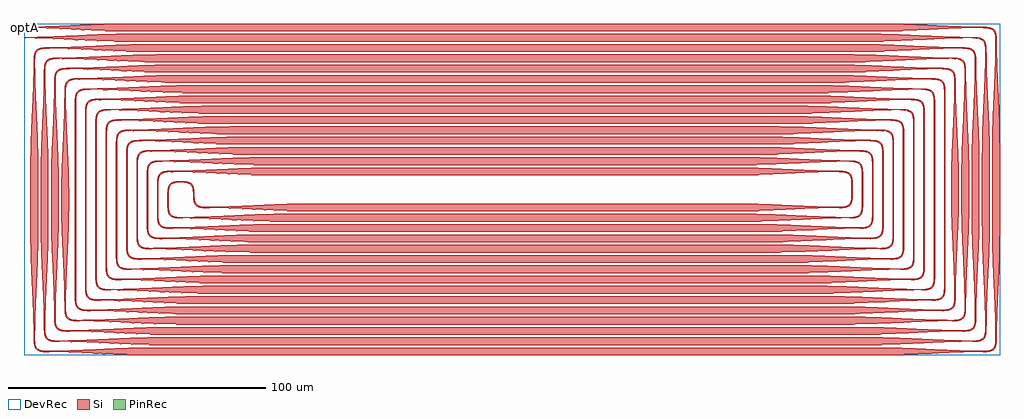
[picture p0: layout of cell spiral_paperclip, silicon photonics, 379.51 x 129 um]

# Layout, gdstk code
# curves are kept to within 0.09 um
import gdstk
lib = gdstk.Library(unit=1e-6, precision=1e-09)
def R(c, l, rs):  # rectangles x0, y0, x1, y1
    for r in rs: c.add(gdstk.rectangle(r[:2], r[2:], *l))
def P(c, l, *ps):  # polygons
    for p in ps: c.add(gdstk.Polygon(p, *l))
Si = (1, 0)
PinRec = (1, 10)
DevRec = (68, 0)

spiral_paperclip = lib.new_cell('spiral_paperclip')
R(spiral_paperclip, Si, [(-140,-62.5,144,-59.5), (-136,-58.5,140,-55.5), (-132,-54.5,136,-51.5), (-128,-50.5,132,-47.5), (-124,-46.5,128,-43.5), (-120,-42.5,124,-39.5), (-116,-38.5,120,-35.5), (-112,-34.5,116,-31.5), (-108,-30.5,112,-27.5), (-104,-26.5,108,-23.5), (-100,-22.5,104,-19.5), (-96,-18.5,100,-15.5), (-186.5,-16,-183.5,12), (187.5,-16,190.5,20), (-92,-14.5,96,-11.5), (-182.5,-12,-179.5,8), (183.5,-12,186.5,16), (-88,-10.5,92,-7.5), (-178.5,-8,-175.5,4), (179.5,-8,182.5,12), (-78,-6.5,88,-3.5), (-174.5,-4,-171.5,0), (175.5,-4,178.5,8), (171.5,0,174.5,4), (-92,7.5,88,10.5), (-96,11.5,92,14.5), (-100,15.5,96,18.5), (-104,19.5,100,22.5), (-108,23.5,104,26.5), (-112,27.5,108,30.5), (-116,31.5,112,34.5), (-120,35.5,116,38.5), (-124,39.5,120,42.5), (-128,43.5,124,46.5), (-132,47.5,128,50.5), (-136,51.5,132,54.5), (-140,55.5,136,58.5), (-149,59.5,140,62.5), (-149,63.5,144,66.5)])
P(spiral_paperclip, Si, [(164,-41.25),(164,-40.75),(165.386,-40.696),(166.48,-40.521),(167.304,-40.209),(167.897,-39.746),(168.314,-39.093),(168.555,-38.341),(168.712,-37.206),(168.75,-36),(168.722,41.022),(168.612,42.045),(168.405,42.865),(168.093,43.494),(167.746,43.897),(167.093,44.314),(166.341,44.555),(165.206,44.712),(164,44.75),(164,45.25),(165.431,45.195),(166.603,45.006),(167.543,44.648),(168.177,44.177),(168.647,43.544),(169.005,42.604),(169.194,41.432),(169.25,40),(169.223,-37.049),(169.105,-38.13),(168.876,-39.032),(168.51,-39.771),(167.984,-40.351),(167.298,-40.769),(166.45,-41.042),(165.432,-41.194)],
  [(-160,-41.25),(-161.431,-41.195),(-162.603,-41.006),(-163.543,-40.648),(-164.177,-40.177),(-164.647,-39.544),(-165.005,-38.604),(-165.194,-37.432),(-165.25,-36),(-165.21,33.242),(-165.075,34.292),(-164.825,35.167),(-164.433,35.88),(-163.881,36.432),(-163.298,36.769),(-162.45,37.042),(-161.432,37.194),(-160,37.25),(-160,36.75),(-161.386,36.696),(-162.48,36.521),(-163.304,36.209),(-163.897,35.746),(-164.314,35.093),(-164.555,34.341),(-164.712,33.206),(-164.75,32),(-164.711,-37.207),(-164.584,-38.197),(-164.405,-38.865),(-164.093,-39.494),(-163.667,-39.966),(-163.093,-40.314),(-162.341,-40.555),(-161.206,-40.712),(-160,-40.75)],
  [(156,-33.25),(156,-32.75),(157.386,-32.696),(158.48,-32.521),(159.304,-32.209),(159.897,-31.746),(160.314,-31.093),(160.555,-30.341),(160.712,-29.206),(160.75,-28),(160.711,33.207),(160.584,34.197),(160.405,34.865),(160.093,35.494),(159.667,35.966),(159.093,36.314),(158.341,36.555),(157.206,36.712),(156,36.75),(156,37.25),(157.431,37.195),(158.603,37.006),(159.543,36.648),(160.177,36.177),(160.647,35.544),(161.005,34.604),(161.194,33.432),(161.25,32),(161.25,-28),(161.195,-29.431),(161.043,-30.449),(160.77,-31.297),(160.433,-31.88),(159.881,-32.432),(159.298,-32.769),(158.45,-33.042),(157.432,-33.194)],
  [(-152,-33.25),(-153.431,-33.195),(-154.603,-33.006),(-155.543,-32.648),(-156.177,-32.177),(-156.647,-31.544),(-157.005,-30.604),(-157.194,-29.432),(-157.25,-28),(-157.25,24),(-157.195,25.431),(-157.043,26.449),(-156.77,27.297),(-156.433,27.88),(-155.881,28.432),(-155.298,28.769),(-154.45,29.042),(-153.432,29.194),(-152,29.25),(-152,28.75),(-153.386,28.696),(-154.48,28.521),(-155.304,28.209),(-155.897,27.746),(-156.314,27.093),(-156.555,26.341),(-156.712,25.206),(-156.75,24),(-156.711,-29.207),(-156.584,-30.197),(-156.405,-30.865),(-156.093,-31.494),(-155.667,-31.966),(-155.093,-32.314),(-154.341,-32.555),(-153.206,-32.712),(-152,-32.75)],
  [(148,-25.25),(148,-24.75),(149.386,-24.696),(150.48,-24.521),(151.304,-24.209),(151.897,-23.746),(152.314,-23.093),(152.555,-22.341),(152.712,-21.206),(152.75,-20),(152.75,24),(152.696,25.386),(152.554,26.342),(152.36,26.982),(152.093,27.494),(151.667,27.966),(151.093,28.314),(150.341,28.555),(149.206,28.712),(148,28.75),(148,29.25),(149.431,29.195),(150.603,29.006),(151.543,28.648),(152.177,28.177),(152.647,27.544),(153.005,26.604),(153.194,25.432),(153.25,24),(153.25,-20),(153.177,-21.613),(153.006,-22.603),(152.711,-23.422),(152.267,-24.082),(151.772,-24.509),(151.168,-24.824),(150.293,-25.074),(149.243,-25.209)],
  [(-144,-25.25),(-145.431,-25.195),(-146.603,-25.006),(-147.543,-24.648),(-148.177,-24.177),(-148.647,-23.544),(-149.005,-22.604),(-149.194,-21.432),(-149.25,-20),(-149.25,16),(-149.156,17.79),(-148.966,18.75),(-148.711,19.422),(-148.267,20.082),(-147.772,20.509),(-147.168,20.824),(-146.293,21.074),(-145.243,21.209),(-144,21.25),(-144,20.75),(-145.386,20.696),(-146.48,20.521),(-147.304,20.209),(-147.897,19.746),(-148.314,19.093),(-148.555,18.341),(-148.712,17.206),(-148.75,16),(-148.75,-20),(-148.659,-21.729),(-148.521,-22.48),(-148.313,-23.094),(-147.965,-23.668),(-147.582,-24.031),(-146.981,-24.361),(-146.196,-24.585),(-145.206,-24.712),(-144,-24.75)],
  [(140,-17.25),(140,-16.75),(141.386,-16.696),(142.48,-16.521),(143.304,-16.209),(143.897,-15.746),(144.314,-15.093),(144.555,-14.341),(144.712,-13.206),(144.75,-12),(144.75,16),(144.637,17.89),(144.485,18.613),(144.262,19.201),(143.965,19.668),(143.582,20.031),(142.981,20.361),(142.196,20.585),(141.206,20.712),(140,20.75),(140,21.25),(141.431,21.195),(142.603,21.006),(143.543,20.648),(144.177,20.177),(144.647,19.544),(145.005,18.604),(145.194,17.432),(145.25,16),(145.25,-12),(145.132,-13.963),(144.923,-14.893),(144.648,-15.543),(144.267,-16.082),(143.772,-16.509),(143.168,-16.824),(142.293,-17.074),(141.243,-17.209)],
  [(-136,-17.25),(-137.431,-17.195),(-138.603,-17.006),(-139.543,-16.648),(-140.177,-16.177),(-140.647,-15.544),(-141.005,-14.604),(-141.194,-13.432),(-141.25,-12),(-141.249,8.221),(-141.195,9.431),(-141.043,10.449),(-140.825,11.167),(-140.51,11.771),(-140.083,12.266),(-139.544,12.647),(-138.894,12.922),(-138.131,13.104),(-136,13.25),(-136,12.75),(-137.386,12.696),(-138.48,12.521),(-139.304,12.209),(-139.897,11.746),(-140.314,11.093),(-140.555,10.341),(-140.712,9.206),(-140.75,8),(-140.75,-12),(-140.711,-13.207),(-140.584,-14.197),(-140.209,-15.304),(-139.896,-15.747),(-139.493,-16.094),(-138.864,-16.406),(-138.196,-16.585),(-137.206,-16.712),(-136,-16.75)],
  [(132,-9.25),(132,-8.75),(133.386,-8.696),(134.48,-8.521),(135.304,-8.209),(135.823,-7.823),(136.21,-7.303),(136.486,-6.612),(136.66,-5.728),(136.741,-4.631),(136.748,8.217),(136.696,9.386),(136.554,10.342),(136.36,10.982),(136.093,11.494),(135.746,11.897),(135.303,12.21),(134.741,12.447),(134.044,12.613),(132,12.75),(132,13.25),(132.647,13.241),(134.449,13.043),(135.167,12.825),(135.66,12.581),(136.177,12.177),(136.509,11.772),(136.769,11.298),(137.005,10.604),(137.176,9.614),(137.245,8.438),(137.241,-4.647),(137.132,-5.963),(136.923,-6.893),(136.581,-7.66),(136.083,-8.266),(135.423,-8.71),(134.604,-9.005),(133.432,-9.194)],
  [(-128,-9.25),(-129.79,-9.156),(-131.167,-8.825),(-132.082,-8.267),(-132.432,-7.881),(-132.71,-7.423),(-133.042,-6.45),(-133.222,-5.05),(-133.249,0.221),(-133.177,1.613),(-132.966,2.75),(-132.648,3.543),(-132.177,4.177),(-131.544,4.647),(-130.751,4.965),(-129.614,5.176),(-128.001,5.25),(-126.387,5.177),(-125.25,4.966),(-124.457,4.648),(-123.823,4.177),(-123.29,3.423),(-123.035,2.751),(-122.845,1.791),(-122.712,-1.206),(-122.585,-2.196),(-122.314,-3.093),(-121.966,-3.667),(-121.401,-4.152),(-120.613,-4.485),(-119.386,-4.696),(-118,-4.75),(-118,-5.25),(-119.614,-5.176),(-120.894,-4.922),(-121.881,-4.432),(-122.51,-3.771),(-122.876,-3.032),(-123.132,-1.963),(-123.289,1.207),(-123.479,2.48),(-123.848,3.401),(-124.418,4.031),(-124.907,4.314),(-125.521,4.522),(-127.171,4.733),(-129.386,4.696),(-130.342,4.554),(-130.982,4.36),(-131.668,3.965),(-132.094,3.493),(-132.406,2.864),(-132.638,1.889),(-132.746,0.427),(-132.748,-4.217),(-132.696,-5.386),(-132.554,-6.342),(-132.152,-7.401),(-131.896,-7.747),(-131.493,-8.094),(-130.864,-8.406),(-130.196,-8.585),(-129.206,-8.712),(-128,-8.75)],
  [(128,-5.25),(128,-4.75),(129.206,-4.712),(130.341,-4.555),(131.093,-4.314),(131.667,-3.966),(132.03,-3.583),(132.313,-3.094),(132.554,-2.342),(132.678,-1.56),(132.748,-0.217),(132.746,4.427),(132.66,5.728),(132.486,6.612),(132.263,7.2),(131.966,7.667),(131.583,8.03),(131.094,8.313),(129.89,8.637),(128,8.75),(128,9.25),(129.614,9.176),(130.894,8.922),(131.772,8.509),(132.433,7.88),(132.923,6.893),(133.132,5.963),(133.241,4.647),(133.248,-0.223),(133.176,-1.614),(133.005,-2.604),(132.71,-3.423),(132.266,-4.083),(131.771,-4.51),(131.167,-4.825),(130.292,-5.075),(129.242,-5.21)],
  [(-132,-13.25),(-133.432,-13.194),(-134.604,-13.005),(-135.423,-12.71),(-136.083,-12.266),(-136.581,-11.66),(-136.923,-10.893),(-137.132,-9.963),(-137.241,-8.647),(-137.245,4.438),(-137.176,5.614),(-137.005,6.604),(-136.769,7.298),(-136.509,7.772),(-136.177,8.177),(-135.66,8.581),(-135.167,8.825),(-134.449,9.043),(-132.647,9.241),(-132,9.25),(-132,8.75),(-134.044,8.613),(-134.741,8.447),(-135.303,8.21),(-135.746,7.897),(-136.093,7.494),(-136.36,6.982),(-136.554,6.342),(-136.696,5.386),(-136.748,4.217),(-136.741,-8.631),(-136.66,-9.728),(-136.486,-10.612),(-136.21,-11.303),(-135.823,-11.823),(-135.304,-12.209),(-134.48,-12.521),(-133.386,-12.696),(-132,-12.75)],
  [(136,-13.25),(136,-12.75),(137.385,-12.697),(138.479,-12.522),(139.303,-12.21),(139.896,-11.747),(140.313,-11.094),(140.554,-10.342),(140.711,-9.207),(140.75,-8),(140.749,12.217),(140.585,14.196),(140.21,15.303),(139.897,15.746),(139.494,16.093),(138.865,16.405),(138.197,16.584),(137.207,16.711),(136,16.75),(136,17.25),(137.432,17.194),(138.604,17.005),(139.544,16.647),(140.177,16.177),(140.648,15.543),(141.006,14.603),(141.195,13.431),(141.25,12),(141.248,-8.223),(141.194,-9.432),(141.042,-10.45),(140.824,-11.168),(140.509,-11.772),(140.082,-12.267),(139.543,-12.648),(138.893,-12.923),(138.13,-13.105)],
  [(-140,-21.25),(-141.432,-21.194),(-142.604,-21.005),(-143.544,-20.647),(-144.177,-20.177),(-144.648,-19.543),(-145.006,-18.603),(-145.195,-17.431),(-145.25,-16),(-145.25,12),(-145.131,13.964),(-144.922,14.894),(-144.647,15.544),(-144.266,16.083),(-143.771,16.51),(-143.167,16.825),(-142.292,17.075),(-141.242,17.21),(-140,17.25),(-140,16.75),(-141.385,16.697),(-142.479,16.522),(-143.303,16.21),(-143.896,15.747),(-144.313,15.094),(-144.554,14.342),(-144.711,13.207),(-144.75,12),(-144.75,-16),(-144.638,-17.889),(-144.486,-18.612),(-144.263,-19.2),(-143.966,-19.667),(-143.583,-20.03),(-142.982,-20.36),(-142.197,-20.584),(-141.207,-20.711),(-140,-20.75)],
  [(144,-21.25),(144,-20.75),(145.385,-20.697),(146.479,-20.522),(147.303,-20.21),(147.896,-19.747),(148.313,-19.094),(148.554,-18.342),(148.711,-17.207),(148.75,-16),(148.75,20),(148.66,21.728),(148.522,22.479),(148.314,23.093),(147.966,23.667),(147.583,24.03),(146.982,24.36),(146.197,24.584),(145.207,24.711),(144,24.75),(144,25.25),(145.432,25.194),(146.604,25.005),(147.544,24.647),(148.177,24.177),(148.648,23.543),(149.006,22.603),(149.195,21.431),(149.25,20),(149.25,-16),(149.155,-17.791),(148.965,-18.751),(148.71,-19.423),(148.266,-20.083),(147.771,-20.51),(147.167,-20.825),(146.292,-21.075),(145.242,-21.21)],
  [(-148,-29.25),(-149.432,-29.194),(-150.604,-29.005),(-151.544,-28.647),(-152.177,-28.177),(-152.648,-27.543),(-153.006,-26.603),(-153.195,-25.431),(-153.25,-24),(-153.25,20),(-153.176,21.614),(-153.005,22.604),(-152.71,23.423),(-152.266,24.083),(-151.771,24.51),(-151.167,24.825),(-150.292,25.075),(-149.242,25.21),(-148,25.25),(-148,24.75),(-149.385,24.697),(-150.479,24.522),(-151.303,24.21),(-151.896,23.747),(-152.313,23.094),(-152.554,22.342),(-152.711,21.207),(-152.75,20),(-152.75,-24),(-152.697,-25.385),(-152.555,-26.341),(-152.361,-26.981),(-152.094,-27.493),(-151.668,-27.965),(-151.094,-28.313),(-150.342,-28.554),(-149.207,-28.711),(-148,-28.75)],
  [(152,-29.25),(152,-28.75),(153.385,-28.697),(154.479,-28.522),(155.303,-28.21),(155.896,-27.747),(156.313,-27.094),(156.554,-26.342),(156.711,-25.207),(156.75,-24),(156.712,29.206),(156.585,30.196),(156.406,30.864),(156.094,31.493),(155.668,31.965),(155.094,32.313),(154.342,32.554),(153.207,32.711),(152,32.75),(152,33.25),(153.432,33.194),(154.604,33.005),(155.544,32.647),(156.177,32.177),(156.648,31.543),(157.006,30.603),(157.195,29.431),(157.25,28),(157.25,-24),(157.194,-25.432),(157.042,-26.45),(156.769,-27.298),(156.432,-27.881),(155.88,-28.433),(155.297,-28.77),(154.449,-29.043),(153.431,-29.195)],
  [(-156,-37.25),(-157.432,-37.194),(-158.604,-37.005),(-159.544,-36.647),(-160.177,-36.177),(-160.648,-35.543),(-161.006,-34.603),(-161.195,-33.431),(-161.25,-32),(-161.25,28),(-161.194,29.432),(-161.042,30.45),(-160.769,31.298),(-160.432,31.881),(-159.88,32.433),(-159.297,32.77),(-158.449,33.043),(-157.431,33.195),(-156,33.25),(-156,32.75),(-157.385,32.697),(-158.479,32.522),(-159.303,32.21),(-159.896,31.747),(-160.313,31.094),(-160.554,30.342),(-160.711,29.207),(-160.75,28),(-160.712,-33.206),(-160.585,-34.196),(-160.406,-34.864),(-160.094,-35.493),(-159.668,-35.965),(-159.094,-36.313),(-158.342,-36.554),(-157.207,-36.711),(-156,-36.75)],
  [(160,-37.25),(160,-36.75),(161.385,-36.697),(162.479,-36.522),(163.303,-36.21),(163.896,-35.747),(164.313,-35.094),(164.554,-34.342),(164.711,-33.207),(164.75,-32),(164.712,37.206),(164.585,38.196),(164.406,38.864),(164.094,39.493),(163.668,39.965),(163.094,40.313),(162.342,40.554),(161.207,40.711),(160,40.75),(160,41.25),(161.432,41.194),(162.604,41.005),(163.544,40.647),(164.177,40.177),(164.648,39.543),(165.006,38.603),(165.195,37.431),(165.25,36),(165.209,-33.243),(165.074,-34.293),(164.824,-35.168),(164.432,-35.881),(163.88,-36.433),(163.297,-36.77),(162.449,-37.043),(161.431,-37.195)],
  [(-164,-45.25),(-165.432,-45.194),(-166.604,-45.005),(-167.544,-44.647),(-168.177,-44.177),(-168.648,-43.543),(-169.006,-42.603),(-169.195,-41.431),(-169.25,-40),(-169.222,37.05),(-169.104,38.131),(-168.875,39.033),(-168.509,39.772),(-167.983,40.352),(-167.297,40.77),(-166.449,41.043),(-165.431,41.195),(-164,41.25),(-164,40.75),(-165.385,40.697),(-166.479,40.522),(-167.303,40.21),(-167.896,39.747),(-168.313,39.094),(-168.554,38.342),(-168.711,37.207),(-168.75,36),(-168.723,-41.021),(-168.613,-42.044),(-168.406,-42.864),(-168.094,-43.493),(-167.747,-43.896),(-167.094,-44.313),(-166.342,-44.554),(-165.207,-44.711),(-164,-44.75)],
  [(184.75,56),(184.711,57.207),(184.554,58.342),(184.313,59.094),(183.896,59.747),(183.303,60.21),(182.479,60.522),(181.385,60.697),(180,60.75),(180,61.25),(181.613,61.177),(182.75,60.966),(183.66,60.581),(184.266,60.083),(184.58,59.661),(184.875,59.033),(185.176,57.614),(185.25,56)],
  [(172.75,44),(172.712,45.206),(172.555,46.341),(172.314,47.093),(171.897,47.746),(171.304,48.209),(170.48,48.521),(169.386,48.696),(168,48.75),(168,49.25),(169.614,49.176),(170.751,48.965),(171.661,48.58),(172.267,48.082),(172.581,47.66),(172.876,47.032),(173.177,45.613),(173.25,44)],
  [(180.75,52),(180.712,53.206),(180.555,54.341),(180.314,55.093),(179.897,55.746),(179.304,56.209),(178.48,56.521),(177.386,56.696),(176,56.75),(176,57.25),(177.614,57.176),(178.751,56.965),(179.661,56.58),(180.267,56.082),(180.581,55.66),(180.876,55.032),(181.177,53.613),(181.25,52)],
  [(176.75,48),(176.711,49.207),(176.554,50.342),(176.313,51.094),(175.896,51.747),(175.303,52.21),(174.479,52.522),(173.385,52.697),(172,52.75),(172,53.25),(173.613,53.177),(174.75,52.966),(175.66,52.581),(176.266,52.083),(176.58,51.661),(176.875,51.033),(177.176,49.614),(177.25,48)],
  [(188.75,60),(188.712,61.206),(188.555,62.341),(188.314,63.093),(187.897,63.746),(187.304,64.209),(186.48,64.521),(185.386,64.696),(184,64.75),(184,65.25),(185.614,65.176),(186.751,64.965),(187.661,64.58),(188.267,64.082),(188.581,63.66),(188.876,63.032),(189.177,61.613),(189.25,60)],
  [(-177.25,44),(-177.194,45.432),(-177.005,46.604),(-176.647,47.544),(-176.177,48.177),(-175.543,48.648),(-174.603,49.006),(-173.431,49.195),(-172,49.25),(-172,48.75),(-173.385,48.697),(-174.479,48.522),(-175.303,48.21),(-175.823,47.823),(-176.209,47.304),(-176.521,46.48),(-176.696,45.386),(-176.75,44)],
  [(-173.25,40),(-173.195,41.431),(-173.006,42.603),(-172.648,43.543),(-172.177,44.177),(-171.544,44.647),(-170.604,45.005),(-169.432,45.194),(-168,45.25),(-168,44.75),(-169.386,44.696),(-170.48,44.521),(-171.304,44.209),(-171.823,43.823),(-172.21,43.303),(-172.522,42.479),(-172.697,41.385),(-172.75,40)],
  [(-181.25,48),(-181.195,49.431),(-181.006,50.603),(-180.648,51.543),(-180.177,52.177),(-179.544,52.647),(-178.604,53.005),(-177.432,53.194),(-176,53.25),(-176,52.75),(-177.386,52.696),(-178.48,52.521),(-179.304,52.209),(-179.823,51.823),(-180.21,51.303),(-180.522,50.479),(-180.697,49.385),(-180.75,48)],
  [(-185.25,52),(-185.194,53.432),(-185.005,54.604),(-184.647,55.544),(-184.177,56.177),(-183.543,56.648),(-182.603,57.006),(-181.431,57.195),(-180,57.25),(-180,56.75),(-181.385,56.697),(-182.479,56.522),(-183.303,56.21),(-183.823,55.823),(-184.209,55.304),(-184.521,54.48),(-184.696,53.386),(-184.75,52)],
  [(-172,-53.25),(-173.432,-53.194),(-174.604,-53.005),(-175.544,-52.647),(-176.177,-52.177),(-176.648,-51.543),(-177.006,-50.603),(-177.195,-49.431),(-177.25,-48),(-176.75,-48),(-176.697,-49.385),(-176.522,-50.479),(-176.21,-51.303),(-175.823,-51.823),(-175.304,-52.209),(-174.48,-52.521),(-173.386,-52.696),(-172,-52.75)],
  [(-176,-57.25),(-177.431,-57.195),(-178.603,-57.006),(-179.543,-56.648),(-180.177,-56.177),(-180.647,-55.544),(-181.005,-54.604),(-181.194,-53.432),(-181.25,-52),(-180.75,-52),(-180.696,-53.386),(-180.521,-54.48),(-180.209,-55.304),(-179.823,-55.823),(-179.303,-56.21),(-178.479,-56.522),(-177.385,-56.697),(-176,-56.75)],
  [(-168,-49.25),(-169.431,-49.195),(-170.603,-49.006),(-171.543,-48.648),(-172.177,-48.177),(-172.647,-47.544),(-173.005,-46.604),(-173.194,-45.432),(-173.25,-44),(-172.75,-44),(-172.696,-45.386),(-172.521,-46.48),(-172.209,-47.304),(-171.823,-47.823),(-171.303,-48.21),(-170.479,-48.522),(-169.385,-48.697),(-168,-48.75)],
  [(-180,-61.25),(-181.432,-61.194),(-182.604,-61.005),(-183.544,-60.647),(-184.177,-60.177),(-184.648,-59.543),(-185.006,-58.603),(-185.195,-57.431),(-185.25,-56),(-184.75,-56),(-184.697,-57.385),(-184.522,-58.479),(-184.21,-59.303),(-183.823,-59.823),(-183.304,-60.209),(-182.48,-60.521),(-181.386,-60.696),(-180,-60.75)],
  [(176,-53.25),(176,-52.75),(177.385,-52.697),(178.479,-52.522),(179.303,-52.21),(179.823,-51.823),(180.209,-51.304),(180.521,-50.48),(180.696,-49.386),(180.75,-48),(181.25,-48),(181.194,-49.432),(181.005,-50.604),(180.647,-51.544),(180.177,-52.177),(179.543,-52.648),(178.603,-53.006),(177.431,-53.195)],
  [(168,-45.25),(168,-44.75),(169.385,-44.697),(170.479,-44.522),(171.303,-44.21),(171.823,-43.823),(172.209,-43.304),(172.521,-42.48),(172.696,-41.386),(172.75,-40),(173.25,-40),(173.194,-41.432),(173.005,-42.604),(172.647,-43.544),(172.177,-44.177),(171.543,-44.648),(170.603,-45.006),(169.431,-45.195)],
  [(180,-57.25),(180,-56.75),(181.386,-56.696),(182.48,-56.521),(183.304,-56.209),(183.823,-55.823),(184.21,-55.303),(184.522,-54.479),(184.697,-53.385),(184.75,-52),(185.25,-52),(185.195,-53.431),(185.006,-54.603),(184.648,-55.543),(184.177,-56.177),(183.544,-56.647),(182.604,-57.005),(181.432,-57.194)],
  [(184,-61.25),(184,-60.75),(185.385,-60.697),(186.479,-60.522),(187.303,-60.21),(187.823,-59.823),(188.209,-59.304),(188.521,-58.48),(188.696,-57.386),(188.75,-56),(189.25,-56),(189.194,-57.432),(189.005,-58.604),(188.647,-59.544),(188.177,-60.177),(187.543,-60.648),(186.603,-61.006),(185.431,-61.195)],
  [(172,-49.25),(172,-48.75),(173.386,-48.696),(174.48,-48.521),(175.304,-48.209),(175.823,-47.823),(176.21,-47.303),(176.522,-46.479),(176.697,-45.385),(176.75,-44),(177.25,-44),(177.195,-45.431),(177.006,-46.603),(176.648,-47.543),(176.177,-48.177),(175.544,-48.647),(174.604,-49.005),(173.432,-49.194)],
  [(-174.5,0),(-174.307,10.28),(-173.395,31.12),(-173.25,40),(-172.75,40),(-172.61,31.28),(-171.693,10.28),(-171.5,0)],
  [(124,43.5),(124,46.5),(134.28,46.307),(155.12,45.395),(164,45.25),(164,44.75),(155.28,44.61),(134.28,43.693)],
  [(120,39.5),(120,42.5),(130.28,42.307),(151.12,41.395),(160,41.25),(160,40.75),(151.28,40.61),(130.28,39.693)],
  [(96,15.5),(96,18.5),(106.28,18.307),(127.12,17.395),(136,17.25),(136,16.75),(127.28,16.61),(106.28,15.693)],
  [(92,11.5),(92,14.5),(102.28,14.307),(123.12,13.395),(132,13.25),(132,12.75),(123.28,12.61),(102.28,11.693)],
  [(108,27.5),(108,30.5),(118.28,30.307),(139.12,29.395),(148,29.25),(148,28.75),(139.28,28.61),(118.28,27.693)],
  [(171.5,4),(171.693,14.28),(172.605,35.12),(172.75,44),(173.25,44),(173.39,35.28),(174.307,14.28),(174.5,4)],
  [(175.5,8),(175.693,18.28),(176.605,39.12),(176.75,48),(177.25,48),(177.39,39.28),(178.307,18.28),(178.5,8)],
  [(128,47.5),(128,50.5),(138.28,50.307),(159.12,49.395),(168,49.25),(168,48.75),(159.28,48.61),(138.28,47.693)],
  [(104,23.5),(104,26.5),(114.28,26.307),(135.12,25.395),(144,25.25),(144,24.75),(135.28,24.61),(114.28,23.693)],
  [(183.5,16),(183.693,26.28),(184.605,47.12),(184.75,56),(185.25,56),(185.39,47.28),(186.307,26.28),(186.5,16)],
  [(116,35.5),(116,38.5),(126.28,38.307),(147.12,37.395),(156,37.25),(156,36.75),(147.28,36.61),(126.28,35.693)],
  [(179.5,12),(179.693,22.28),(180.605,43.12),(180.75,52),(181.25,52),(181.39,43.28),(182.307,22.28),(182.5,12)],
  [(100,19.5),(100,22.5),(110.28,22.307),(131.12,21.395),(140,21.25),(140,20.75),(131.28,20.61),(110.28,19.693)],
  [(136,55.5),(136,58.5),(146.28,58.307),(167.12,57.395),(176,57.25),(176,56.75),(167.28,56.61),(146.28,55.693)],
  [(88,7.5),(88,10.5),(98.28,10.307),(119.12,9.395),(128,9.25),(128,8.75),(119.28,8.61),(98.28,7.693)],
  [(112,31.5),(112,34.5),(122.28,34.307),(143.12,33.395),(152,33.25),(152,32.75),(143.28,32.61),(122.28,31.693)],
  [(187.5,20),(187.693,30.28),(188.605,51.12),(188.75,60),(189.25,60),(189.39,51.28),(190.307,30.28),(190.5,20)],
  [(140,59.5),(140,62.5),(150.28,62.307),(171.12,61.395),(180,61.25),(180,60.75),(171.28,60.61),(150.28,59.693)],
  [(144,63.5),(144,66.5),(154.28,66.307),(175.12,65.395),(184,65.25),(184,64.75),(175.28,64.61),(154.28,63.693)],
  [(132,51.5),(132,54.5),(142.28,54.307),(163.12,53.395),(172,53.25),(172,52.75),(163.28,52.61),(142.28,51.693)],
  [(-182.5,8),(-182.307,18.28),(-181.395,39.12),(-181.25,48),(-180.75,48),(-180.61,39.28),(-179.693,18.28),(-179.5,8)],
  [(-116,31.5),(-126.28,31.693),(-147.12,32.605),(-156,32.75),(-156,33.25),(-147.28,33.39),(-126.28,34.307),(-116,34.5)],
  [(-178.5,4),(-178.307,14.28),(-177.395,35.12),(-177.25,44),(-176.75,44),(-176.61,35.28),(-175.693,14.28),(-175.5,4)],
  [(-149,59.5),(-159.28,59.693),(-180.12,60.605),(-189,60.75),(-189,61.25),(-180.28,61.39),(-159.28,62.307),(-149,62.5)],
  [(-100,15.5),(-110.28,15.693),(-131.12,16.605),(-140,16.75),(-140,17.25),(-131.28,17.39),(-110.28,18.307),(-100,18.5)],
  [(-104,19.5),(-114.28,19.693),(-135.12,20.605),(-144,20.75),(-144,21.25),(-135.28,21.39),(-114.28,22.307),(-104,22.5)],
  [(-140,55.5),(-150.28,55.693),(-171.12,56.605),(-180,56.75),(-180,57.25),(-171.28,57.39),(-150.28,58.307),(-140,58.5)],
  [(-124,39.5),(-134.28,39.693),(-155.12,40.605),(-164,40.75),(-164,41.25),(-155.28,41.39),(-134.28,42.307),(-124,42.5)],
  [(-112,27.5),(-122.28,27.693),(-143.12,28.605),(-152,28.75),(-152,29.25),(-143.28,29.39),(-122.28,30.307),(-112,30.5)],
  [(-186.5,12),(-186.307,22.28),(-185.395,43.12),(-185.25,52),(-184.75,52),(-184.61,43.28),(-183.693,22.28),(-183.5,12)],
  [(-136,51.5),(-146.28,51.693),(-167.12,52.605),(-176,52.75),(-176,53.25),(-167.28,53.39),(-146.28,54.307),(-136,54.5)],
  [(-108,23.5),(-118.28,23.693),(-139.12,24.605),(-148,24.75),(-148,25.25),(-139.28,25.39),(-118.28,26.307),(-108,26.5)],
  [(-92,7.5),(-102.28,7.693),(-123.12,8.605),(-132,8.75),(-132,9.25),(-123.28,9.39),(-102.28,10.307),(-92,10.5)],
  [(-120,35.5),(-130.28,35.693),(-151.12,36.605),(-160,36.75),(-160,37.25),(-151.28,37.39),(-130.28,38.307),(-120,38.5)],
  [(-96,11.5),(-106.28,11.693),(-127.12,12.605),(-136,12.75),(-136,13.25),(-127.28,13.39),(-106.28,14.307),(-96,14.5)],
  [(-149,63.5),(-159.28,63.693),(-180.12,64.605),(-189,64.75),(-189,65.25),(-180.28,65.39),(-159.28,66.307),(-149,66.5)],
  [(-128,43.5),(-138.28,43.693),(-159.12,44.605),(-168,44.75),(-168,45.25),(-159.28,45.39),(-138.28,46.307),(-128,46.5)],
  [(-132,47.5),(-142.28,47.693),(-163.12,48.605),(-172,48.75),(-172,49.25),(-163.28,49.39),(-142.28,50.307),(-132,50.5)],
  [(-88,-10.5),(-98.28,-10.307),(-119.12,-9.395),(-128,-9.25),(-128,-8.75),(-119.28,-8.61),(-98.28,-7.693),(-88,-7.5)],
  [(-116,-38.5),(-126.28,-38.307),(-147.12,-37.395),(-156,-37.25),(-156,-36.75),(-147.28,-36.61),(-126.28,-35.693),(-116,-35.5)],
  [(-132,-54.5),(-142.28,-54.307),(-163.12,-53.395),(-172,-53.25),(-172,-52.75),(-163.28,-52.61),(-142.28,-51.693),(-132,-51.5)],
  [(-112,-34.5),(-122.28,-34.307),(-143.12,-33.395),(-152,-33.25),(-152,-32.75),(-143.28,-32.61),(-122.28,-31.693),(-112,-31.5)],
  [(-173.25,-44),(-173.39,-35.28),(-174.307,-14.28),(-174.5,-4),(-171.5,-4),(-171.693,-14.28),(-172.605,-35.12),(-172.75,-44)],
  [(-100,-22.5),(-110.28,-22.307),(-131.12,-21.395),(-140,-21.25),(-140,-20.75),(-131.28,-20.61),(-110.28,-19.693),(-100,-19.5)],
  [(-78,-6.5),(-88.28,-6.307),(-109.12,-5.395),(-118,-5.25),(-118,-4.75),(-109.28,-4.61),(-88.28,-3.693),(-78,-3.5)],
  [(-120,-42.5),(-130.28,-42.307),(-151.12,-41.395),(-160,-41.25),(-160,-40.75),(-151.28,-40.61),(-130.28,-39.693),(-120,-39.5)],
  [(-124,-46.5),(-134.28,-46.307),(-155.12,-45.395),(-164,-45.25),(-164,-44.75),(-155.28,-44.61),(-134.28,-43.693),(-124,-43.5)],
  [(-96,-18.5),(-106.28,-18.307),(-127.12,-17.395),(-136,-17.25),(-136,-16.75),(-127.28,-16.61),(-106.28,-15.693),(-96,-15.5)],
  [(-185.25,-56),(-185.39,-47.28),(-186.307,-26.28),(-186.5,-16),(-183.5,-16),(-183.693,-26.28),(-184.605,-47.12),(-184.75,-56)],
  [(-140,-62.5),(-150.28,-62.307),(-171.12,-61.395),(-180,-61.25),(-180,-60.75),(-171.28,-60.61),(-150.28,-59.693),(-140,-59.5)],
  [(-108,-30.5),(-118.28,-30.307),(-139.12,-29.395),(-148,-29.25),(-148,-28.75),(-139.28,-28.61),(-118.28,-27.693),(-108,-27.5)],
  [(-136,-58.5),(-146.28,-58.307),(-167.12,-57.395),(-176,-57.25),(-176,-56.75),(-167.28,-56.61),(-146.28,-55.693),(-136,-55.5)],
  [(-92,-14.5),(-102.28,-14.307),(-123.12,-13.395),(-132,-13.25),(-132,-12.75),(-123.28,-12.61),(-102.28,-11.693),(-92,-11.5)],
  [(-104,-26.5),(-114.28,-26.307),(-135.12,-25.395),(-144,-25.25),(-144,-24.75),(-135.28,-24.61),(-114.28,-23.693),(-104,-23.5)],
  [(-128,-50.5),(-138.28,-50.307),(-159.12,-49.395),(-168,-49.25),(-168,-48.75),(-159.28,-48.61),(-138.28,-47.693),(-128,-47.5)],
  [(-181.25,-52),(-181.39,-43.28),(-182.307,-22.28),(-182.5,-12),(-179.5,-12),(-179.693,-22.28),(-180.605,-43.12),(-180.75,-52)],
  [(-177.25,-48),(-177.39,-39.28),(-178.307,-18.28),(-178.5,-8),(-175.5,-8),(-175.693,-18.28),(-176.605,-39.12),(-176.75,-48)],
  [(96,-14.5),(96,-11.5),(106.28,-11.693),(127.12,-12.605),(136,-12.75),(136,-13.25),(127.28,-13.39),(106.28,-14.307)],
  [(180.75,-48),(180.61,-39.28),(179.693,-18.28),(179.5,-8),(182.5,-8),(182.307,-18.28),(181.395,-39.12),(181.25,-48)],
  [(184.75,-52),(184.61,-43.28),(183.693,-22.28),(183.5,-12),(186.5,-12),(186.307,-22.28),(185.395,-43.12),(185.25,-52)],
  [(128,-46.5),(128,-43.5),(138.28,-43.693),(159.12,-44.605),(168,-44.75),(168,-45.25),(159.28,-45.39),(138.28,-46.307)],
  [(112,-30.5),(112,-27.5),(122.28,-27.693),(143.12,-28.605),(152,-28.75),(152,-29.25),(143.28,-29.39),(122.28,-30.307)],
  [(140,-58.5),(140,-55.5),(150.28,-55.693),(171.12,-56.605),(180,-56.75),(180,-57.25),(171.28,-57.39),(150.28,-58.307)],
  [(172.75,-40),(172.61,-31.28),(171.693,-10.28),(171.5,0),(174.5,0),(174.307,-10.28),(173.395,-31.12),(173.25,-40)],
  [(100,-18.5),(100,-15.5),(110.28,-15.693),(131.12,-16.605),(140,-16.75),(140,-17.25),(131.28,-17.39),(110.28,-18.307)],
  [(124,-42.5),(124,-39.5),(134.28,-39.693),(155.12,-40.605),(164,-40.75),(164,-41.25),(155.28,-41.39),(134.28,-42.307)],
  [(88,-6.5),(88,-3.5),(98.28,-3.693),(119.12,-4.605),(128,-4.75),(128,-5.25),(119.28,-5.39),(98.28,-6.307)],
  [(108,-26.5),(108,-23.5),(118.28,-23.693),(139.12,-24.605),(148,-24.75),(148,-25.25),(139.28,-25.39),(118.28,-26.307)],
  [(116,-34.5),(116,-31.5),(126.28,-31.693),(147.12,-32.605),(156,-32.75),(156,-33.25),(147.28,-33.39),(126.28,-34.307)],
  [(144,-62.5),(144,-59.5),(154.28,-59.693),(175.12,-60.605),(184,-60.75),(184,-61.25),(175.28,-61.39),(154.28,-62.307)],
  [(104,-22.5),(104,-19.5),(114.28,-19.693),(135.12,-20.605),(144,-20.75),(144,-21.25),(135.28,-21.39),(114.28,-22.307)],
  [(120,-38.5),(120,-35.5),(130.28,-35.693),(151.12,-36.605),(160,-36.75),(160,-37.25),(151.28,-37.39),(130.28,-38.307)],
  [(188.75,-56),(188.61,-47.28),(187.693,-26.28),(187.5,-16),(190.5,-16),(190.307,-26.28),(189.395,-47.12),(189.25,-56)],
  [(132,-50.5),(132,-47.5),(142.28,-47.693),(163.12,-48.605),(172,-48.75),(172,-49.25),(163.28,-49.39),(142.28,-50.307)],
  [(176.75,-44),(176.61,-35.28),(175.693,-14.28),(175.5,-4),(178.5,-4),(178.307,-14.28),(177.395,-35.12),(177.25,-44)],
  [(136,-54.5),(136,-51.5),(146.28,-51.693),(167.12,-52.605),(176,-52.75),(176,-53.25),(167.28,-53.39),(146.28,-54.307)],
  [(92,-10.5),(92,-7.5),(102.28,-7.693),(123.12,-8.605),(132,-8.75),(132,-9.25),(123.28,-9.39),(102.28,-10.307)])
R(spiral_paperclip, DevRec, [(-189,-62.5,190.5,66.5)])
spiral_paperclip.add(gdstk.FlexPath([(-188.99,65),(-189.01,65)], 0.5, ends="flush", simple_path=True, layer=1, datatype=10))  # PinRec
spiral_paperclip.add(gdstk.FlexPath([(-188.99,61),(-189.01,61)], 0.5, ends="flush", simple_path=True, layer=1, datatype=10))  # PinRec
spiral_paperclip.add(gdstk.Label('optA', (-189,65), layer=1, texttype=10))
spiral_paperclip.add(gdstk.Label('optB', (-189,61), layer=1, texttype=10))

lib.write_gds('spiral_paperclip.gds')
